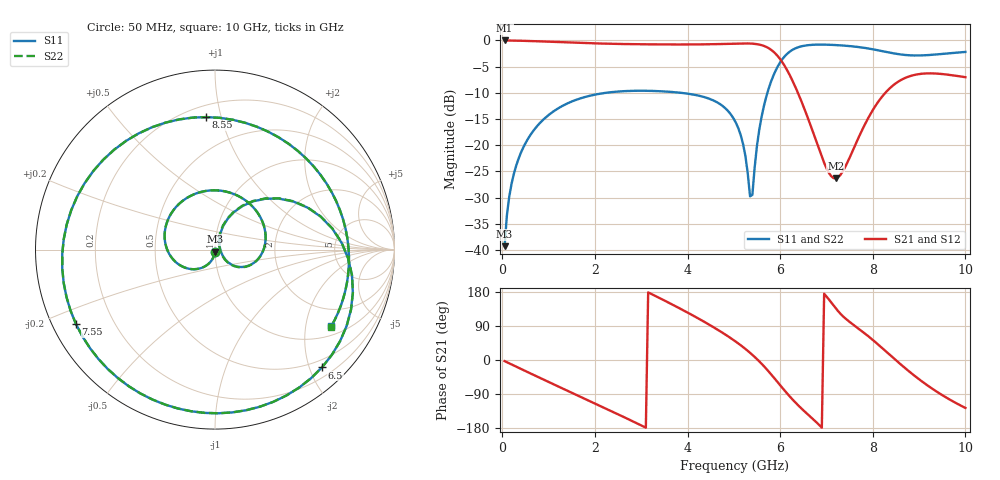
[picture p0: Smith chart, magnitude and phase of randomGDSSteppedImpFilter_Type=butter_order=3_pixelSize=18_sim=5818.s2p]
! freq	dB(S11)	phase(S11)	dB(S12)	phase(S12)
!  dB(S21)	phase(S21)	dB(S22)	phase(S22)
!S-par simulation data
#  GHz  S  DB  R 50
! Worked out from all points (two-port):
!   200 points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, 50 MHz to 10 GHz, reference 50 ohm
!   highest |S21| = -0.01 dB at 50 MHz (marker M1); lowest = -26.3 dB at 7.2 GHz (marker M2)
!   |S21| within 3 dB of the highest: start of sweep to 5.949 GHz
!   lowest |S11| = -39.3 dB at 50 MHz (marker M3), VSWR 1.02, Z = 49.9 - j1.08 ohm
!   |S11| at or under -10 dB: start of sweep to 2.243 GHz; 3.849 GHz to 5.725 GHz (1.877 GHz wide, 39.2 % of centre)
!   |S22| runs from -39.3 to -0.8 dB; largest |S21 - S12| = 0
!   S11 on the Smith chart (normalised r, x): 50 MHz: 1.00, -0.02; 6.5 GHz: 0.36, -2.21; 7.55 GHz: 0.07, -0.25; 8.55 GHz: 0.28, +0.90; 10 GHz: 1.30, -2.80
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0.05  -39.29 -92.3  -0.01 -3.0  -0.01 -3.0  -39.29 -92.3
0.2  -27.37 -101.6  -0.03 -11.8  -0.03 -11.8  -27.37 -101.6
0.5  -19.64 -119.6  -0.09 -29.2  -0.09 -29.2  -19.64 -119.6
1.15  -13.28 -157.2  -0.29 -66.5  -0.29 -66.5  -13.28 -157.2
1.75  -10.90 168.7  -0.49 -100.6  -0.49 -100.6  -10.90 168.6
2.65  -9.68 117.4  -0.69 -152.0  -0.69 -152.0  -9.68 117.2
3.4  -9.70 72.9  -0.76 163.2  -0.76 163.2  -9.70 72.7
4.35  -10.79 12.4  -0.75 101.6  -0.75 101.6  -10.79 12.1
5.05  -15.83 -36.5  -0.60 47.8  -0.60 47.8  -15.84 -37.2
5.4  -29.48 42.0  -0.62 13.7  -0.62 13.7  -30.01 44.0
5.6  -14.54 67.5  -0.91 -9.9  -0.91 -9.9  -14.56 68.2
5.95  -4.94 24.4  -3.02 -59.1  -3.02 -59.1  -4.94 24.6
6.2  -2.19 -10.8  -6.51 -95.2  -6.51 -95.2  -2.19 -10.6
6.5  -1.05 -47.8  -12.53 -132.6  -12.53 -132.6  -1.05 -47.7
6.7  -0.84 -69.1  -17.29 -155.0  -17.29 -155.0  -0.84 -69.0
7.2  -0.89 -117.4  -26.35 136.5  -26.35 136.5  -0.89 -117.4
7.55  -1.12 -151.8  -21.40 95.9  -21.40 95.9  -1.13 -151.9
7.95  -1.61 164.7  -14.06 58.1  -14.06 58.1  -1.61 164.5
8.35  -2.31 117.4  -9.29 15.6  -9.29 15.6  -2.31 117.1
8.55  -2.62 93.8  -7.87 -5.9  -7.87 -5.9  -2.62 93.4
9.25  -2.77 21.9  -6.29 -72.9  -6.29 -72.9  -2.77 21.6
10  -2.20 -33.3  -7.02 -126.5  -7.02 -126.5  -2.20 -33.5
